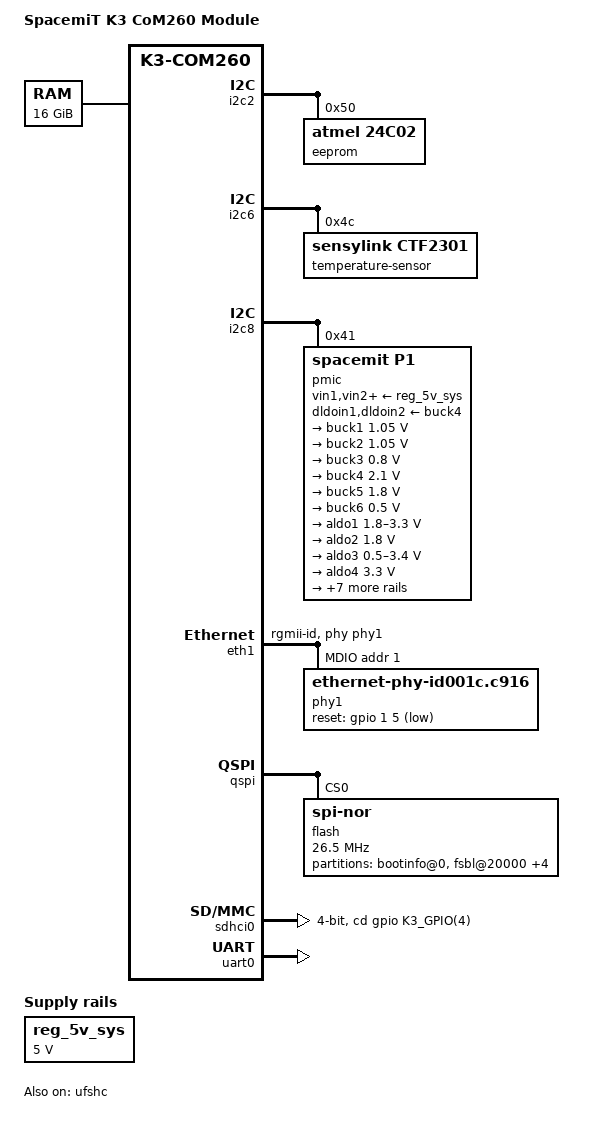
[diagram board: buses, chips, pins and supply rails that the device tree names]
// SPDX-License-Identifier: (GPL-2.0 OR MIT)
/*
 * Copyright (c) 2026 SpacemiT (Hangzhou) Technology Co. Ltd
 * Copyright (c) 2026 Yixun Lan <dlan@kernel.org>
 */
#include <dt-bindings/gpio/gpio.h>

#include "k3.dtsi"
#include "k3-pinctrl.dtsi"

/ {
	model = "SpacemiT K3 CoM260 Module";
	compatible = "spacemit,k3-com260", "spacemit,k3";

	memory@100000000 {
		device_type = "memory";
		reg = <0x1 0x00000000 0x4 0x00000000>;
	};

	reg_5v_sys: regulator-5v-sys {
		compatible = "regulator-fixed";
		regulator-name = "P5V0_SYS";
		regulator-min-microvolt = <5000000>;
		regulator-max-microvolt = <5000000>;
		regulator-always-on;
	};
};

&i2c2 {
	pinctrl-names = "default";
	pinctrl-0 = <&i2c2_1_cfg>;
	status = "okay";

	eeprom@50 {
		compatible = "atmel,24c02";
		pagesize = <8>;
		reg = <0x50>;
		read-only;
		size = <256>;
		status = "okay";

		nvmem-layout {
			compatible = "onie,tlv-layout";

			mac_address: mac-address {
				#nvmem-cell-cells = <1>;
			};

			num-macs {
			};

			product-name {
			};

			serial-number {
			};
		};
	};
};

&i2c6_1_cfg {
	i2c6-1-pins {
		power-source = <3300>;
	};
};

&i2c6 {
	pinctrl-names = "default";
	pinctrl-0 = <&i2c6_1_cfg>;
	status = "okay";

	temperature-sensor@4c {
		compatible = "sensylink,ctf2301";
		reg = <0x4c>;
	};
};

&i2c8 {
	pinctrl-names = "default";
	pinctrl-0 = <&i2c8_cfg>;
	status = "okay";

	pmic@41 {
		compatible = "spacemit,p1";
		reg = <0x41>;
		interrupts = <64 IRQ_TYPE_LEVEL_HIGH>;
		vin1-supply = <&reg_5v_sys>;
		vin2-supply = <&reg_5v_sys>;
		vin3-supply = <&reg_5v_sys>;
		vin4-supply = <&reg_5v_sys>;
		vin5-supply = <&reg_5v_sys>;
		vin6-supply = <&reg_5v_sys>;
		aldoin-supply = <&reg_5v_sys>;
		dldoin1-supply = <&buck4>;
		dldoin2-supply = <&buck4>;

		regulators {
			buck1: buck1 {
				regulator-min-microvolt = <1050000>;
				regulator-max-microvolt = <1050000>;
				regulator-ramp-delay = <5000>;
				regulator-always-on;
			};

			buck2: buck2 {
				regulator-min-microvolt = <1050000>;
				regulator-max-microvolt = <1050000>;
				regulator-ramp-delay = <5000>;
				regulator-always-on;
			};

			buck3: buck3 {
				regulator-min-microvolt = <800000>;
				regulator-max-microvolt = <800000>;
				regulator-ramp-delay = <5000>;
				regulator-always-on;
			};

			buck4: buck4 {
				regulator-min-microvolt = <2100000>;
				regulator-max-microvolt = <2100000>;
				regulator-ramp-delay = <5000>;
				regulator-always-on;
			};

			buck5: buck5 {
				regulator-min-microvolt = <1800000>;
				regulator-max-microvolt = <1800000>;
				regulator-ramp-delay = <5000>;
				regulator-always-on;
			};

			buck6: buck6 {
				regulator-min-microvolt = <500000>;
				regulator-max-microvolt = <500000>;
				regulator-ramp-delay = <5000>;
				regulator-always-on;
			};

			aldo1: aldo1 {
				regulator-min-microvolt = <1800000>;
				regulator-max-microvolt = <3300000>;
				regulator-always-on;
				regulator-boot-on;
			};

			aldo2: aldo2 {
				regulator-min-microvolt = <1800000>;
				regulator-max-microvolt = <1800000>;
				regulator-always-on;
				regulator-boot-on;
			};

			aldo3: aldo3 {
				regulator-min-microvolt = <500000>;
				regulator-max-microvolt = <3400000>;
			};

			aldo4: aldo4 {
				regulator-min-microvolt = <3300000>;
				regulator-max-microvolt = <3300000>;
				regulator-always-on;
				regulator-boot-on;
			};

			dldo1: dldo1 {
				regulator-min-microvolt = <1200000>;
				regulator-max-microvolt = <1200000>;
				regulator-always-on;
				regulator-boot-on;
			};

			dldo2: dldo2 {
				regulator-min-microvolt = <900000>;
				regulator-max-microvolt = <900000>;
				regulator-always-on;
				regulator-boot-on;
			};

			dldo3: dldo3 {
				regulator-min-microvolt = <800000>;
				regulator-max-microvolt = <800000>;
				regulator-always-on;
				regulator-boot-on;
			};

			dldo4: dldo4 {
				regulator-min-microvolt = <1800000>;
				regulator-max-microvolt = <1800000>;
				regulator-always-on;
				regulator-boot-on;
			};

			dldo5: dldo5 {
				regulator-min-microvolt = <1800000>;
				regulator-max-microvolt = <1800000>;
				regulator-always-on;
				regulator-boot-on;
			};

			dldo6: dldo6 {
				regulator-min-microvolt = <1800000>;
				regulator-max-microvolt = <1800000>;
				regulator-always-on;
				regulator-boot-on;
			};

			dldo7: dldo7 {
				regulator-min-microvolt = <1800000>;
				regulator-max-microvolt = <1800000>;
				regulator-always-on;
				regulator-boot-on;
			};
		};
	};
};

&eth1 {
	nvmem-cells = <&mac_address 0>;
	nvmem-cell-names = "mac-address";
	pinctrl-names = "default";
	pinctrl-0 = <&gmac1_rgmii_0_cfg>, <&gmac1_phy_0_cfg>;
	phy-mode = "rgmii-id";
	phy-handle = <&phy1>;
	status = "okay";

	mdio {
		phy1: ethernet-phy@1 {
			compatible = "ethernet-phy-id001c.c916";
			reg = <1>;
			reset-gpios = <&gpio 1 5 GPIO_ACTIVE_LOW>;
			reset-assert-us = <10000>;
			reset-deassert-us = <50000>;
		};
	};
};

&qspi_cfg {
	qspi-pins {
		power-source = <1800>;
	};

	qspi-cs0-pins {
		power-source = <1800>;
	};
};

&qspi {
	pinctrl-names = "default";
	pinctrl-0 = <&qspi_cfg>;
	status = "okay";

	flash@0 {
		compatible = "jedec,spi-nor";
		reg = <0>;
		spi-max-frequency = <26500000>;
		spi-rx-bus-width = <4>;
		spi-tx-bus-width = <4>;
		m25p,fast-read;

		partitions {
			compatible = "fixed-partitions";
			#address-cells = <1>;
			#size-cells = <1>;

			bootinfo@0 {
				reg = <0x0 0x20000>;
			};

			fsbl@20000 {
				reg = <0x20000 0x80000>;
			};

			env@a0000 {
				reg = <0xa0000 0x10000>;
			};

			esos@b0000 {
				reg = <0xb0000 0x100000>;
			};

			opensbi@1b0000 {
				reg = <0x1b0000 0x60000>;
			};

			uboot@210000 {
				reg = <0x210000 0x5f0000>;
			};
		};
	};
};

&sdhci0 {
	pinctrl-names = "default","uhs";
	pinctrl-0 = <&mmc1_cfg>;
	pinctrl-1 = <&mmc1_uhs_cfg>;
	bus-width = <4>;
	cd-gpios = <&gpio K3_GPIO(4) GPIO_ACTIVE_HIGH>;
	no-mmc;
	no-sdio;
	disable-wp;
	cap-sd-highspeed;
	vqmmc-supply = <&aldo1>;
	sd-uhs-sdr25;
	sd-uhs-sdr50;
	sd-uhs-sdr104;
	status = "okay";
};

&uart0 {
	pinctrl-names = "default";
	pinctrl-0 = <&uart0_0_cfg>;
	status = "okay";
};

&ufshc {
	status = "okay";
};
